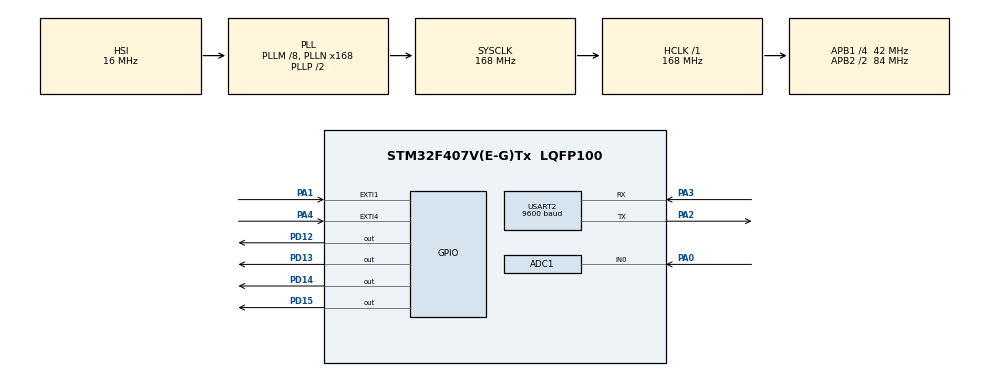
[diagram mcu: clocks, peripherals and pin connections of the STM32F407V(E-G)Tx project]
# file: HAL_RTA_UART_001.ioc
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ADC1.Channel-0\#ChannelRegularConversion=ADC_CHANNEL_0
ADC1.ContinuousConvMode=ENABLE
ADC1.NbrOfConversionFlag=1
ADC1.Rank-0\#ChannelRegularConversion=1
ADC1.SamplingTime-0\#ChannelRegularConversion=ADC_SAMPLETIME_3CYCLES
ADC1.master=1
Mcu.Family=STM32F4
Mcu.Name=STM32F407V(E-G)Tx
Mcu.Package=LQFP100
NVIC.EXTI1_IRQn=true\:0\:0\:false\:false\:true\:true\:true\:true
NVIC.EXTI4_IRQn=true\:0\:0\:false\:false\:true\:true\:true\:true
NVIC.PriorityGroup=NVIC_PRIORITYGROUP_4
PA0-WKUP.Signal=ADCx_IN0
PA1.Signal=GPXTI1
PA13.Mode=Serial_Wire
PA13.Signal=SYS_JTMS-SWDIO
PA14.Mode=Serial_Wire
PA14.Signal=SYS_JTCK-SWCLK
PA2.Mode=Asynchronous
PA2.Signal=USART2_TX
PA3.Mode=Asynchronous
PA3.Signal=USART2_RX
PA4.Signal=GPXTI4
PD12.Signal=GPIO_Output
PD13.Signal=GPIO_Output
PD14.Signal=GPIO_Output
PD15.Signal=GPIO_Output
ProjectManager.HeapSize=0x200
ProjectManager.StackSize=0x400
ProjectManager.TargetToolchain=STM32CubeIDE
RCC.48MHZClocksFreq_Value=84000000
RCC.AHBFreq_Value=168000000
RCC.APB1CLKDivider=RCC_HCLK_DIV4
RCC.APB1Freq_Value=42000000
RCC.APB1TimFreq_Value=84000000
RCC.APB2CLKDivider=RCC_HCLK_DIV2
RCC.APB2Freq_Value=84000000
RCC.APB2TimFreq_Value=168000000
RCC.CortexFreq_Value=168000000
RCC.HCLKFreq_Value=168000000
RCC.HSE_VALUE=25000000
RCC.HSI_VALUE=16000000
RCC.LSE_VALUE=32768
RCC.PLLM=8
RCC.PLLN=168
RCC.SYSCLKFreq_VALUE=168000000
RCC.SYSCLKSource=RCC_SYSCLKSOURCE_PLLCLK
RCC.VCOOutputFreq_Value=336000000
SH.ADCx_IN0.0=ADC1_IN0,IN0
USART2.BaudRate=9600
USART2.VirtualMode=VM_ASYNC
board=custom

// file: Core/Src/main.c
/* USER CODE BEGIN Header */
/**
  ******************************************************************************
  * @file           : main.c
  * @brief          : Main program body
  ******************************************************************************
  * @attention
  *
  * Copyright (c) 2023 STMicroelectronics.
  * All rights reserved.
  *
  * This software is licensed under terms that can be found in the LICENSE file
  * in the root directory of this software component.
  * If no LICENSE file comes with this software, it is provided AS-IS.
  *
  ******************************************************************************
  */
/* USER CODE END Header */
#include "main.h"

/* USER CODE BEGIN Includes */
#include "string.h"
#include "stdio.h"

void Read_ADC(void);
char tx_data[50];
uint16_t adc_value;
int count = 0;
int i = 0;

void HAL_GPIO_EXTI_Callback(uint16_t GPIO_Pin)
{
	if(HAL_GPIO_ReadPin(GPIOA, GPIO_PIN_1))
	  {
		  while(HAL_GPIO_ReadPin(GPIOA, GPIO_PIN_1));
		  HAL_Delay(1);

		  count = 500;
	  }
	  else if(HAL_GPIO_ReadPin(GPIOA, GPIO_PIN_4))
	  {
		  while(HAL_GPIO_ReadPin(GPIOA, GPIO_PIN_4));
		  HAL_Delay(1);

		  count = 250;
	  }
}

/* USER CODE END Includes */

ADC_HandleTypeDef hadc1;

UART_HandleTypeDef huart2;

void SystemClock_Config(void);
static void MX_GPIO_Init(void);
static void MX_USART2_UART_Init(void);
static void MX_ADC1_Init(void);

/* USER CODE BEGIN 0 */

void Read_ADC()
{
	HAL_ADC_Start(&hadc1);

	if(HAL_ADC_PollForConversion(&hadc1, HAL_MAX_DELAY) == HAL_OK)
	{
		adc_value = HAL_ADC_GetValue(&hadc1);
	}

	HAL_ADC_Stop(&hadc1);
}

/* USER CODE END 0 */

int main(void)
{

  /* MCU Configuration--------------------------------------------------------*/

  /* Reset of all peripherals, Initializes the Flash interface and the Systick. */
  HAL_Init();

  /* Configure the system clock */
  SystemClock_Config();

  /* Initialize all configured peripherals */
  MX_GPIO_Init();
  MX_USART2_UART_Init();
  MX_ADC1_Init();
  /* USER CODE BEGIN 2 */

  HAL_GPIO_WritePin(GPIOD,GPIO_PIN_12 | GPIO_PIN_13 | GPIO_PIN_14 | GPIO_PIN_15,1);

  /* USER CODE END 2 */

  /* Infinite loop */
  while (1)
  {

    /* USER CODE BEGIN 3 */

	  HAL_GPIO_TogglePin(GPIOD, GPIO_PIN_12 | GPIO_PIN_13 | GPIO_PIN_14 | GPIO_PIN_15);
	  HAL_Delay(500);

  }
  /* USER CODE END 3 */
}

void SystemClock_Config(void)
{
  RCC_OscInitTypeDef RCC_OscInitStruct = {0};
  RCC_ClkInitTypeDef RCC_ClkInitStruct = {0};

  /** Configure the main internal regulator output voltage
  */
  __HAL_RCC_PWR_CLK_ENABLE();
  __HAL_PWR_VOLTAGESCALING_CONFIG(PWR_REGULATOR_VOLTAGE_SCALE1);

  /** Initializes the RCC Oscillators according to the specified parameters
  * in the RCC_OscInitTypeDef structure.
  */
  RCC_OscInitStruct.OscillatorType = RCC_OSCILLATORTYPE_HSI;
  RCC_OscInitStruct.HSIState = RCC_HSI_ON;
  RCC_OscInitStruct.HSICalibrationValue = RCC_HSICALIBRATION_DEFAULT;
  RCC_OscInitStruct.PLL.PLLState = RCC_PLL_ON;
  RCC_OscInitStruct.PLL.PLLSource = RCC_PLLSOURCE_HSI;
  RCC_OscInitStruct.PLL.PLLM = 8;
  RCC_OscInitStruct.PLL.PLLN = 168;
  RCC_OscInitStruct.PLL.PLLP = RCC_PLLP_DIV2;
  RCC_OscInitStruct.PLL.PLLQ = 4;
  if (HAL_RCC_OscConfig(&RCC_OscInitStruct) != HAL_OK)
  {
    Error_Handler();
  }

  /** Initializes the CPU, AHB and APB buses clocks
  */
  RCC_ClkInitStruct.ClockType = RCC_CLOCKTYPE_HCLK|RCC_CLOCKTYPE_SYSCLK
                              |RCC_CLOCKTYPE_PCLK1|RCC_CLOCKTYPE_PCLK2;
  RCC_ClkInitStruct.SYSCLKSource = RCC_SYSCLKSOURCE_PLLCLK;
  RCC_ClkInitStruct.AHBCLKDivider = RCC_SYSCLK_DIV1;
  RCC_ClkInitStruct.APB1CLKDivider = RCC_HCLK_DIV4;
  RCC_ClkInitStruct.APB2CLKDivider = RCC_HCLK_DIV2;

  if (HAL_RCC_ClockConfig(&RCC_ClkInitStruct, FLASH_LATENCY_5) != HAL_OK)
  {
    Error_Handler();
  }
}

static void MX_ADC1_Init(void)
{

  ADC_ChannelConfTypeDef sConfig = {0};

  /** Configure the global features of the ADC (Clock, Resolution, Data Alignment and number of conversion)
  */
  hadc1.Instance = ADC1;
  hadc1.Init.ClockPrescaler = ADC_CLOCK_SYNC_PCLK_DIV4;
  hadc1.Init.Resolution = ADC_RESOLUTION_12B;
  hadc1.Init.ScanConvMode = DISABLE;
  hadc1.Init.ContinuousConvMode = ENABLE;
  hadc1.Init.DiscontinuousConvMode = DISABLE;
  hadc1.Init.ExternalTrigConvEdge = ADC_EXTERNALTRIGCONVEDGE_NONE;
  hadc1.Init.ExternalTrigConv = ADC_SOFTWARE_START;
  hadc1.Init.DataAlign = ADC_DATAALIGN_RIGHT;
  hadc1.Init.NbrOfConversion = 1;
  hadc1.Init.DMAContinuousRequests = DISABLE;
  hadc1.Init.EOCSelection = ADC_EOC_SINGLE_CONV;
  if (HAL_ADC_Init(&hadc1) != HAL_OK)
  {
    Error_Handler();
  }

  /** Configure for the selected ADC regular channel its corresponding rank in the sequencer and its sample time.
  */
  sConfig.Channel = ADC_CHANNEL_0;
  sConfig.Rank = 1;
  sConfig.SamplingTime = ADC_SAMPLETIME_3CYCLES;
  if (HAL_ADC_ConfigChannel(&hadc1, &sConfig) != HAL_OK)
  {
    Error_Handler();
  }

}

static void MX_USART2_UART_Init(void)
{

  huart2.Instance = USART2;
  huart2.Init.BaudRate = 9600;
  huart2.Init.WordLength = UART_WORDLENGTH_8B;
  huart2.Init.StopBits = UART_STOPBITS_1;
  huart2.Init.Parity = UART_PARITY_NONE;
  huart2.Init.Mode = UART_MODE_TX_RX;
  huart2.Init.HwFlowCtl = UART_HWCONTROL_NONE;
  huart2.Init.OverSampling = UART_OVERSAMPLING_16;
  if (HAL_UART_Init(&huart2) != HAL_OK)
  {
    Error_Handler();
  }

}

static void MX_GPIO_Init(void)
{
  GPIO_InitTypeDef GPIO_InitStruct = {0};

  /* GPIO Ports Clock Enable */
  __HAL_RCC_GPIOA_CLK_ENABLE();
  __HAL_RCC_GPIOD_CLK_ENABLE();

  /*Configure GPIO pin Output Level */
  HAL_GPIO_WritePin(GPIOD, GPIO_PIN_12|GPIO_PIN_13|GPIO_PIN_14|GPIO_PIN_15, GPIO_PIN_RESET);

  /*Configure GPIO pins : PA1 PA4 */
  GPIO_InitStruct.Pin = GPIO_PIN_1|GPIO_PIN_4;
  GPIO_InitStruct.Mode = GPIO_MODE_IT_RISING;
  GPIO_InitStruct.Pull = GPIO_NOPULL;
  HAL_GPIO_Init(GPIOA, &GPIO_InitStruct);

  /*Configure GPIO pins : PD12 PD13 PD14 PD15 */
  GPIO_InitStruct.Pin = GPIO_PIN_12|GPIO_PIN_13|GPIO_PIN_14|GPIO_PIN_15;
  GPIO_InitStruct.Mode = GPIO_MODE_OUTPUT_PP;
  GPIO_InitStruct.Pull = GPIO_NOPULL;
  GPIO_InitStruct.Speed = GPIO_SPEED_FREQ_LOW;
  HAL_GPIO_Init(GPIOD, &GPIO_InitStruct);

  /* EXTI interrupt init*/
  HAL_NVIC_SetPriority(EXTI1_IRQn, 0, 0);
  HAL_NVIC_EnableIRQ(EXTI1_IRQn);

  HAL_NVIC_SetPriority(EXTI4_IRQn, 0, 0);
  HAL_NVIC_EnableIRQ(EXTI4_IRQn);

}

void Error_Handler(void)
{
  __disable_irq();
  while (1)
  {
  }
}
